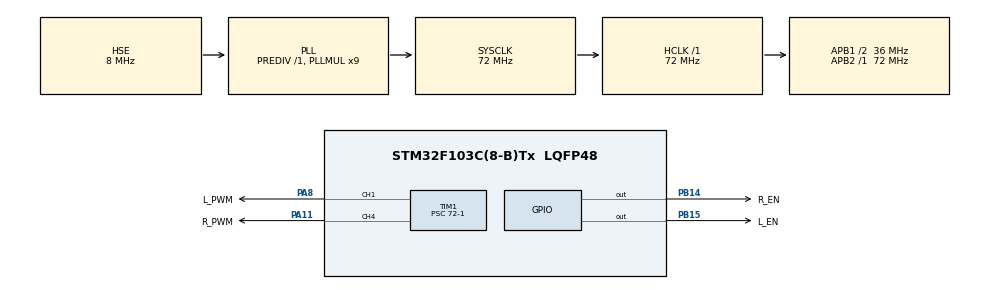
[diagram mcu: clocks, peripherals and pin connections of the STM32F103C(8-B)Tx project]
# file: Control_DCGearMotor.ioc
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Mcu.Family=STM32F1
Mcu.Name=STM32F103C(8-B)Tx
Mcu.Package=LQFP48
NVIC.PriorityGroup=NVIC_PRIORITYGROUP_4
PA11.GPIO_Label=R_PWM
PA11.Signal=S_TIM1_CH4
PA13.Mode=Serial_Wire
PA13.Signal=SYS_JTMS-SWDIO
PA14.Mode=Serial_Wire
PA14.Signal=SYS_JTCK-SWCLK
PA8.GPIO_Label=L_PWM
PA8.Signal=S_TIM1_CH1
PB14.GPIO_Label=R_EN
PB14.GPIO_Speed=GPIO_SPEED_FREQ_HIGH
PB14.PinState=GPIO_PIN_SET
PB14.Signal=GPIO_Output
PB15.GPIO_Label=L_EN
PB15.GPIO_Speed=GPIO_SPEED_FREQ_HIGH
PB15.PinState=GPIO_PIN_SET
PB15.Signal=GPIO_Output
PD0-OSC_IN.Mode=HSE-External-Oscillator
PD0-OSC_IN.Signal=RCC_OSC_IN
PD1-OSC_OUT.Mode=HSE-External-Oscillator
PD1-OSC_OUT.Signal=RCC_OSC_OUT
ProjectManager.HeapSize=0x200
ProjectManager.StackSize=0x400
ProjectManager.TargetToolchain=STM32CubeIDE
RCC.AHBFreq_Value=72000000
RCC.APB1CLKDivider=RCC_HCLK_DIV2
RCC.APB1Freq_Value=36000000
RCC.APB1TimFreq_Value=72000000
RCC.APB2Freq_Value=72000000
RCC.APB2TimFreq_Value=72000000
RCC.HCLKFreq_Value=72000000
RCC.PLLMUL=RCC_PLL_MUL9
RCC.PLLSourceVirtual=RCC_PLLSOURCE_HSE
RCC.SYSCLKFreq_VALUE=72000000
RCC.SYSCLKSource=RCC_SYSCLKSOURCE_PLLCLK
RCC.USBFreq_Value=72000000
SH.S_TIM1_CH1.0=TIM1_CH1,PWM Generation1 CH1
SH.S_TIM1_CH4.0=TIM1_CH4,PWM Generation4 CH4
TIM1.Channel-PWM\ Generation1\ CH1=TIM_CHANNEL_1
TIM1.Channel-PWM\ Generation4\ CH4=TIM_CHANNEL_4
TIM1.Period=1000-1
TIM1.Prescaler=72-1
VP_TIM1_VS_ClockSourceINT.Mode=Internal
board=custom

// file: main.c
/* USER CODE BEGIN Header */
/**
  ******************************************************************************
  * @file           : main.c
  * @brief          : Main program body
  ******************************************************************************
  * @attention
  *
  * Copyright (c) 2023 STMicroelectronics.
  * All rights reserved.
  *
  * This software is licensed under terms that can be found in the LICENSE file
  * in the root directory of this software component.
  * If no LICENSE file comes with this software, it is provided AS-IS.
  *
  ******************************************************************************
  */
/* USER CODE END Header */
#include "main.h"

/* USER CODE BEGIN PTD */
typedef enum
{
	MOTOR_STOP,
	MOTOR_CTRL_FORWARD, //dieu khien dong co thuan chieu
	MOTOR_CTRL_BACKWARD, //dieu khien dong co nguoc chieu
}MotorState;
/* USER CODE END PTD */

TIM_HandleTypeDef htim1;

/* USER CODE BEGIN PV */
MotorState motor_state;
/* USER CODE END PV */

void SystemClock_Config(void);
static void MX_GPIO_Init(void);
static void MX_TIM1_Init(void);

/* USER CODE BEGIN 0 */

void pwm_set_duty(TIM_HandleTypeDef *htim, uint16_t channel,uint8_t duty)
{
	uint16_t ccr = duty*(htim->Instance->ARR)/100;  //ratio division
	switch(channel)
	{
		case TIM_CHANNEL_1:
			htim->Instance->CCR1 = ccr;
			break;
		case TIM_CHANNEL_2:
			htim->Instance->CCR2 = ccr;
			break;
		case TIM_CHANNEL_3:
			htim->Instance->CCR3 = ccr;
			break;
		case TIM_CHANNEL_4:
			htim->Instance->CCR4 = ccr;
			break;
	}
}
//speed: 0->100
//RPWM = 1 LPWM = 0 -> Motor quay thuan
//RPWM = 0 LPWM = 1 -> Motor quay nghich
//RPWM = 0 LPWM = 0 -> Motor dung
void motor_control(MotorState state, uint8_t speed)
{
	switch(state)
	{
		case MOTOR_STOP:
			pwm_set_duty(&htim1,TIM_CHANNEL_4,0);
			pwm_set_duty(&htim1,TIM_CHANNEL_1,0);
			break;
		case MOTOR_CTRL_FORWARD:
			pwm_set_duty(&htim1,TIM_CHANNEL_4,speed);
			pwm_set_duty(&htim1,TIM_CHANNEL_1,0);
			break;
		case MOTOR_CTRL_BACKWARD:
			pwm_set_duty(&htim1,TIM_CHANNEL_4,0); //RPWM
			pwm_set_duty(&htim1,TIM_CHANNEL_1,speed); //LPWM
			break;
	}
}
/* USER CODE END 0 */

int main(void)
{

  /* MCU Configuration--------------------------------------------------------*/

  /* Reset of all peripherals, Initializes the Flash interface and the Systick. */
  HAL_Init();

  /* Configure the system clock */
  SystemClock_Config();

  /* Initialize all configured peripherals */
  MX_GPIO_Init();
  MX_TIM1_Init();
  /* USER CODE BEGIN 2 */
  HAL_TIM_PWM_Start(&htim1,TIM_CHANNEL_4);
  HAL_TIM_PWM_Start(&htim1,TIM_CHANNEL_1);
  /* USER CODE END 2 */

  /* Infinite loop */
  /* USER CODE BEGIN WHILE */
  while (1)
  {
	motor_control(MOTOR_CTRL_BACKWARD, 20);
    /* USER CODE END WHILE */

  }
}

void SystemClock_Config(void)
{
  RCC_OscInitTypeDef RCC_OscInitStruct = {0};
  RCC_ClkInitTypeDef RCC_ClkInitStruct = {0};

  /** Initializes the RCC Oscillators according to the specified parameters
  * in the RCC_OscInitTypeDef structure.
  */
  RCC_OscInitStruct.OscillatorType = RCC_OSCILLATORTYPE_HSE;
  RCC_OscInitStruct.HSEState = RCC_HSE_ON;
  RCC_OscInitStruct.HSEPredivValue = RCC_HSE_PREDIV_DIV1;
  RCC_OscInitStruct.HSIState = RCC_HSI_ON;
  RCC_OscInitStruct.PLL.PLLState = RCC_PLL_ON;
  RCC_OscInitStruct.PLL.PLLSource = RCC_PLLSOURCE_HSE;
  RCC_OscInitStruct.PLL.PLLMUL = RCC_PLL_MUL9;
  if (HAL_RCC_OscConfig(&RCC_OscInitStruct) != HAL_OK)
  {
    Error_Handler();
  }

  /** Initializes the CPU, AHB and APB buses clocks
  */
  RCC_ClkInitStruct.ClockType = RCC_CLOCKTYPE_HCLK|RCC_CLOCKTYPE_SYSCLK
                              |RCC_CLOCKTYPE_PCLK1|RCC_CLOCKTYPE_PCLK2;
  RCC_ClkInitStruct.SYSCLKSource = RCC_SYSCLKSOURCE_PLLCLK;
  RCC_ClkInitStruct.AHBCLKDivider = RCC_SYSCLK_DIV1;
  RCC_ClkInitStruct.APB1CLKDivider = RCC_HCLK_DIV2;
  RCC_ClkInitStruct.APB2CLKDivider = RCC_HCLK_DIV1;

  if (HAL_RCC_ClockConfig(&RCC_ClkInitStruct, FLASH_LATENCY_2) != HAL_OK)
  {
    Error_Handler();
  }
}

static void MX_TIM1_Init(void)
{

  TIM_ClockConfigTypeDef sClockSourceConfig = {0};
  TIM_MasterConfigTypeDef sMasterConfig = {0};
  TIM_OC_InitTypeDef sConfigOC = {0};
  TIM_BreakDeadTimeConfigTypeDef sBreakDeadTimeConfig = {0};

  htim1.Instance = TIM1;
  htim1.Init.Prescaler = 72-1;
  htim1.Init.CounterMode = TIM_COUNTERMODE_UP;
  htim1.Init.Period = 1000-1;
  htim1.Init.ClockDivision = TIM_CLOCKDIVISION_DIV1;
  htim1.Init.RepetitionCounter = 0;
  htim1.Init.AutoReloadPreload = TIM_AUTORELOAD_PRELOAD_DISABLE;
  if (HAL_TIM_Base_Init(&htim1) != HAL_OK)
  {
    Error_Handler();
  }
  sClockSourceConfig.ClockSource = TIM_CLOCKSOURCE_INTERNAL;
  if (HAL_TIM_ConfigClockSource(&htim1, &sClockSourceConfig) != HAL_OK)
  {
    Error_Handler();
  }
  if (HAL_TIM_PWM_Init(&htim1) != HAL_OK)
  {
    Error_Handler();
  }
  sMasterConfig.MasterOutputTrigger = TIM_TRGO_RESET;
  sMasterConfig.MasterSlaveMode = TIM_MASTERSLAVEMODE_DISABLE;
  if (HAL_TIMEx_MasterConfigSynchronization(&htim1, &sMasterConfig) != HAL_OK)
  {
    Error_Handler();
  }
  sConfigOC.OCMode = TIM_OCMODE_PWM1;
  sConfigOC.Pulse = 0;
  sConfigOC.OCPolarity = TIM_OCPOLARITY_HIGH;
  sConfigOC.OCNPolarity = TIM_OCNPOLARITY_HIGH;
  sConfigOC.OCFastMode = TIM_OCFAST_DISABLE;
  sConfigOC.OCIdleState = TIM_OCIDLESTATE_RESET;
  sConfigOC.OCNIdleState = TIM_OCNIDLESTATE_RESET;
  if (HAL_TIM_PWM_ConfigChannel(&htim1, &sConfigOC, TIM_CHANNEL_1) != HAL_OK)
  {
    Error_Handler();
  }
  if (HAL_TIM_PWM_ConfigChannel(&htim1, &sConfigOC, TIM_CHANNEL_4) != HAL_OK)
  {
    Error_Handler();
  }
  sBreakDeadTimeConfig.OffStateRunMode = TIM_OSSR_DISABLE;
  sBreakDeadTimeConfig.OffStateIDLEMode = TIM_OSSI_DISABLE;
  sBreakDeadTimeConfig.LockLevel = TIM_LOCKLEVEL_OFF;
  sBreakDeadTimeConfig.DeadTime = 0;
  sBreakDeadTimeConfig.BreakState = TIM_BREAK_DISABLE;
  sBreakDeadTimeConfig.BreakPolarity = TIM_BREAKPOLARITY_HIGH;
  sBreakDeadTimeConfig.AutomaticOutput = TIM_AUTOMATICOUTPUT_DISABLE;
  if (HAL_TIMEx_ConfigBreakDeadTime(&htim1, &sBreakDeadTimeConfig) != HAL_OK)
  {
    Error_Handler();
  }
  HAL_TIM_MspPostInit(&htim1);

}

static void MX_GPIO_Init(void)
{
  GPIO_InitTypeDef GPIO_InitStruct = {0};

  /* GPIO Ports Clock Enable */
  __HAL_RCC_GPIOD_CLK_ENABLE();
  __HAL_RCC_GPIOB_CLK_ENABLE();
  __HAL_RCC_GPIOA_CLK_ENABLE();

  /*Configure GPIO pin Output Level */
  HAL_GPIO_WritePin(GPIOB, R_EN_Pin|L_EN_Pin, GPIO_PIN_SET);

  /*Configure GPIO pins : R_EN_Pin L_EN_Pin */
  GPIO_InitStruct.Pin = R_EN_Pin|L_EN_Pin;
  GPIO_InitStruct.Mode = GPIO_MODE_OUTPUT_PP;
  GPIO_InitStruct.Pull = GPIO_NOPULL;
  GPIO_InitStruct.Speed = GPIO_SPEED_FREQ_HIGH;
  HAL_GPIO_Init(GPIOB, &GPIO_InitStruct);

}

void Error_Handler(void)
{
  __disable_irq();
  while (1)
  {
  }
}
